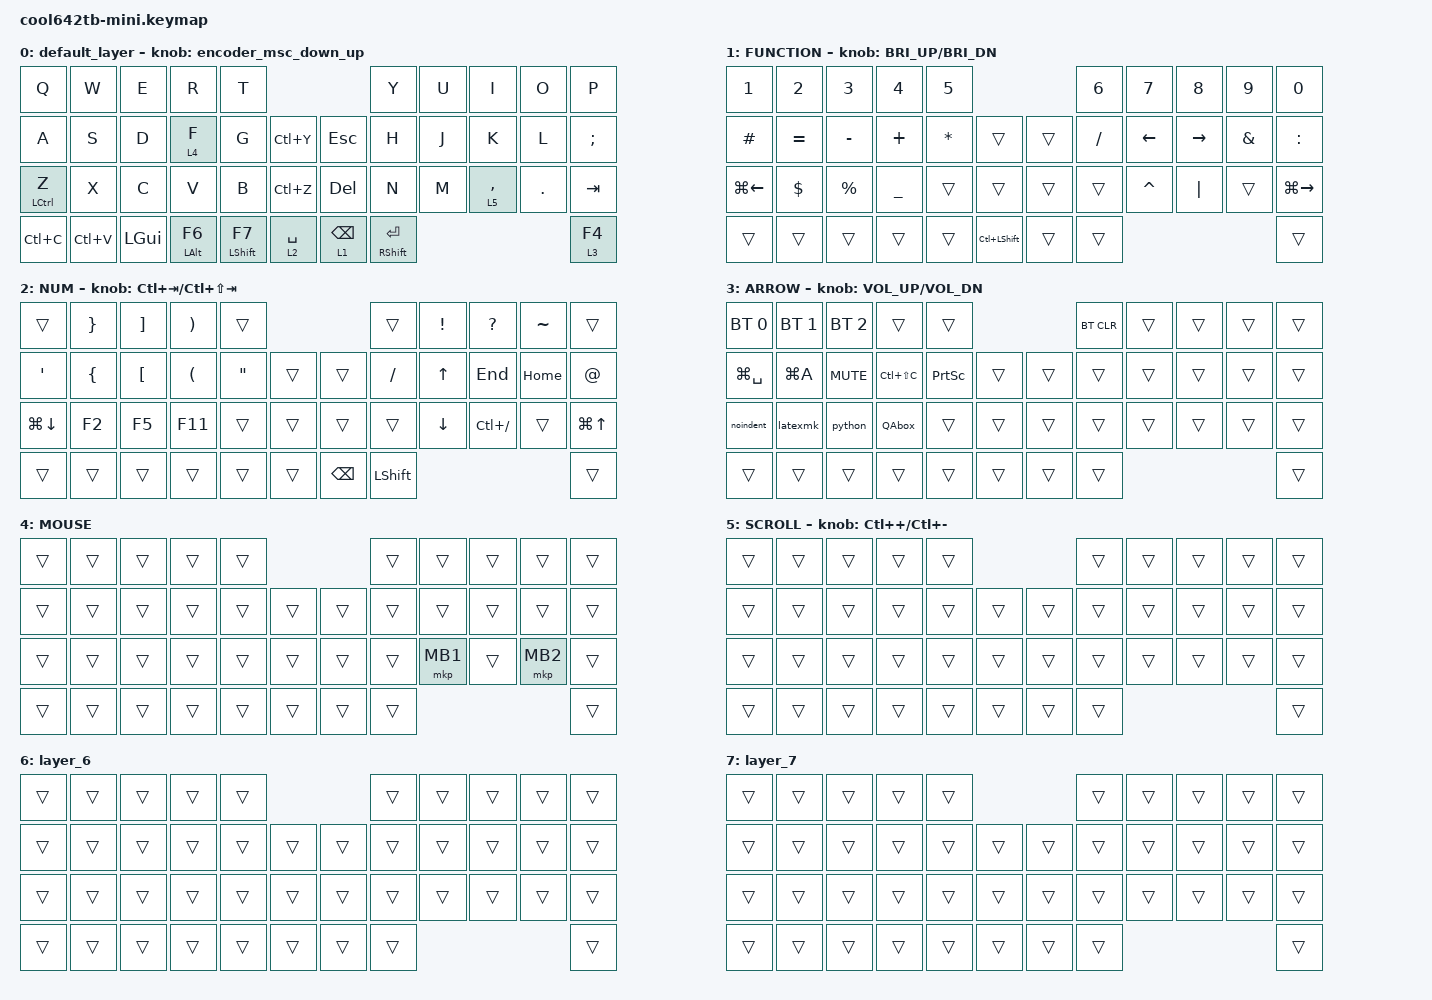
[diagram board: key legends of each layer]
#include <behaviors.dtsi>
#include <dt-bindings/zmk/bt.h>
#include <dt-bindings/zmk/keys.h>
#include <dt-bindings/zmk/pointing.h>

#define MOUSE 4
#define SCROLL 5
#define NUM 6
#define ZMK_POINTING_DEFAULT_SCRL_VAL 80

&mt {
    flavor = "balanced";
    quick-tap-ms = <0>;
};

/ {
    combos {
        compatible = "zmk,combos";

        shift_tab {
            bindings = <&kp LANG2>;
            key-positions = <12 13>;
        };

        lang {
            bindings = <&kp LANG1>;
            key-positions = <18 19>;
        };

        backslash {
            bindings = <&kp BACKSLASH>;
            key-positions = <13 18>;
        };

        latex {
            bindings = <&lualat>;
            key-positions = <21 20>;
        };
    };

    behaviors {
        encoder_msc_down_up: encoder_msc_down_up {
            compatible = "zmk,behavior-sensor-rotate";
            label = "ENCODER_MSC_DOWN_UP";
            #sensor-binding-cells = <0>;
            bindings = <&msc SCRL_UP>, <&msc SCRL_DOWN>;

            tap-ms = <20>;
        };
    };

    macros {
        lualat: new_macro {
            compatible = "zmk,behavior-macro";
            #binding-cells = <0>;
            bindings = <&kp L &kp U &kp A &kp L &kp A &kp T &kp E &kp X &kp SPACE>;
            label = "NEW_MACRO";
        };

        noindent: noindent {
            compatible = "zmk,behavior-macro";
            #binding-cells = <0>;
            bindings = <&kp BSLH &kp S &kp E &kp T &kp L &kp E &kp N &kp G &kp T &kp H &kp LBRC &kp BSLH &kp P &kp A &kp R &kp I &kp N &kp D &kp E &kp N &kp T &kp RBRC &kp LBRC &kp N0 &kp P &kp T &kp RBRC>;
            label = "NOINDENT";
        };

        QAbox: QAbox {
            compatible = "zmk,behavior-macro";
            #binding-cells = <0>;
            bindings = <&kp BSLH &kp B &kp E &kp G &kp I &kp N &kp LBRC &kp Q &kp B &kp O &kp X &kp RBRC &kp RET &kp SPACE &kp SPACE &kp LBRC>;
            label = "QABOX";
        };

        latexmk: latexmk {
            compatible = "zmk,behavior-macro";
            #binding-cells = <0>;
            bindings = <&kp L &kp A &kp T &kp E &kp X &kp M &kp K &kp SPACE &kp MINUS &kp C &kp RET>;
            label = "LATEXMK";
        };

        python: python {
            compatible = "zmk,behavior-macro";
            #binding-cells = <0>;
            bindings = <&kp P &kp Y &kp T &kp H &kp O &kp N &kp SPACE>;
            label = "PYTHON";
        };
    };

    keymap {
        compatible = "zmk,keymap";

        default_layer {
            bindings = <
&kp Q               &kp W      &kp E         &kp R            &kp T                                                &kp Y             &kp U  &kp I        &kp O    &kp P
&kp A               &kp S      &kp D         &lt 4 F          &kp G              &kp LC(Y)        &kp ESCAPE       &kp H             &kp J  &kp K        &kp L    &kp SEMICOLON
&mt LEFT_CONTROL Z  &kp X      &kp C         &kp V            &kp B              &kp LC(Z)        &kp DEL          &kp N             &kp M  &lt 5 COMMA  &kp DOT  &kp TAB
&kp LC(C)           &kp LC(V)  &kp LEFT_GUI  &mt LEFT_ALT F6  &mt LEFT_SHIFT F7  &lt 2 SPACE      &lt 1 BACKSPACE  &mt RSHIFT ENTER                               &lt 3 F4
            >;

            sensor-bindings = <&encoder_msc_down_up>;
        };

        FUNCTION {
            bindings = <
&kp N1              &kp N2      &kp N3       &kp N4          &kp N5                                        &kp N6     &kp N7     &kp N8     &kp N9         &kp N0
&kp HASH            &kp EQUAL   &kp MINUS    &kp PLUS        &kp ASTERISK  &trans                  &trans  &kp SLASH  &kp LEFT   &kp RIGHT  &kp AMPERSAND  &kp COLON
&kp LG(LEFT_ARROW)  &kp DOLLAR  &kp PERCENT  &kp UNDERSCORE  &trans        &trans                  &trans  &trans     &kp CARET  &kp PIPE   &trans         &kp LG(RIGHT)
&trans              &trans      &trans       &trans          &trans        &kp LC(LEFT_SHIFT)      &trans  &trans                                          &trans
            >;

            sensor-bindings = <&inc_dec_kp C_BRI_UP C_BRI_DN>;
        };

        NUM {
            bindings = <
&trans              &kp RIGHT_BRACE  &kp RIGHT_BRACKET  &kp RIGHT_PARENTHESIS  &trans                                        &trans          &kp EXCLAMATION  &kp QUESTION   &kp TILDE  &trans
&kp SQT             &kp LEFT_BRACE   &kp LBKT           &kp LEFT_PARENTHESIS   &kp DOUBLE_QUOTES  &trans      &trans         &kp SLASH       &kp UP_ARROW     &kp END        &kp HOME   &kp AT
&kp LG(DOWN_ARROW)  &kp F2           &kp F5             &kp F11                &trans             &trans      &trans         &trans          &kp DOWN_ARROW   &kp LC(SLASH)  &trans     &kp LG(UP_ARROW)
&trans              &trans           &trans             &trans                 &trans             &trans      &kp BACKSPACE  &kp LEFT_SHIFT                                             &trans
            >;

            sensor-bindings = <&inc_dec_kp LC(TAB) LC(LS(TAB))>;
        };

        ARROW {
            bindings = <
&bt BT_SEL 0   &bt BT_SEL 1  &bt BT_SEL 2  &trans         &trans                               &bt BT_CLR  &trans  &trans  &trans  &trans
&kp LG(SPACE)  &kp LG(A)     &kp C_MUTE    &kp LC(LS(C))  &kp PRINTSCREEN  &trans      &trans  &trans      &trans  &trans  &trans  &trans
&noindent      &latexmk      &python       &QAbox         &trans           &trans      &trans  &trans      &trans  &trans  &trans  &trans
&trans         &trans        &trans        &trans         &trans           &trans      &trans  &trans                              &trans
            >;

            sensor-bindings = <&inc_dec_kp C_VOLUME_UP C_VOL_DN>;
        };

        MOUSE {
            bindings = <
&trans  &trans  &trans  &trans  &trans                      &trans  &trans    &trans  &trans    &trans
&trans  &trans  &trans  &trans  &trans  &trans      &trans  &trans  &trans    &trans  &trans    &trans
&trans  &trans  &trans  &trans  &trans  &trans      &trans  &trans  &mkp MB1  &trans  &mkp MB2  &trans
&trans  &trans  &trans  &trans  &trans  &trans      &trans  &trans                              &trans
            >;
        };

        SCROLL {
            bindings = <
&trans  &trans  &trans  &trans  &trans                      &trans  &trans  &trans  &trans  &trans
&trans  &trans  &trans  &trans  &trans  &trans      &trans  &trans  &trans  &trans  &trans  &trans
&trans  &trans  &trans  &trans  &trans  &trans      &trans  &trans  &trans  &trans  &trans  &trans
&trans  &trans  &trans  &trans  &trans  &trans      &trans  &trans                          &trans
            >;

            sensor-bindings = <&inc_dec_kp LC(PLUS) LC(MINUS)>;
        };

        layer_6 {
            bindings = <
&trans  &trans  &trans  &trans  &trans                      &trans  &trans  &trans  &trans  &trans
&trans  &trans  &trans  &trans  &trans  &trans      &trans  &trans  &trans  &trans  &trans  &trans
&trans  &trans  &trans  &trans  &trans  &trans      &trans  &trans  &trans  &trans  &trans  &trans
&trans  &trans  &trans  &trans  &trans  &trans      &trans  &trans                          &trans
            >;
        };

        layer_7 {
            bindings = <
&trans  &trans  &trans  &trans  &trans                      &trans  &trans  &trans  &trans  &trans
&trans  &trans  &trans  &trans  &trans  &trans      &trans  &trans  &trans  &trans  &trans  &trans
&trans  &trans  &trans  &trans  &trans  &trans      &trans  &trans  &trans  &trans  &trans  &trans
&trans  &trans  &trans  &trans  &trans  &trans      &trans  &trans                          &trans
            >;
        };
    };
};
